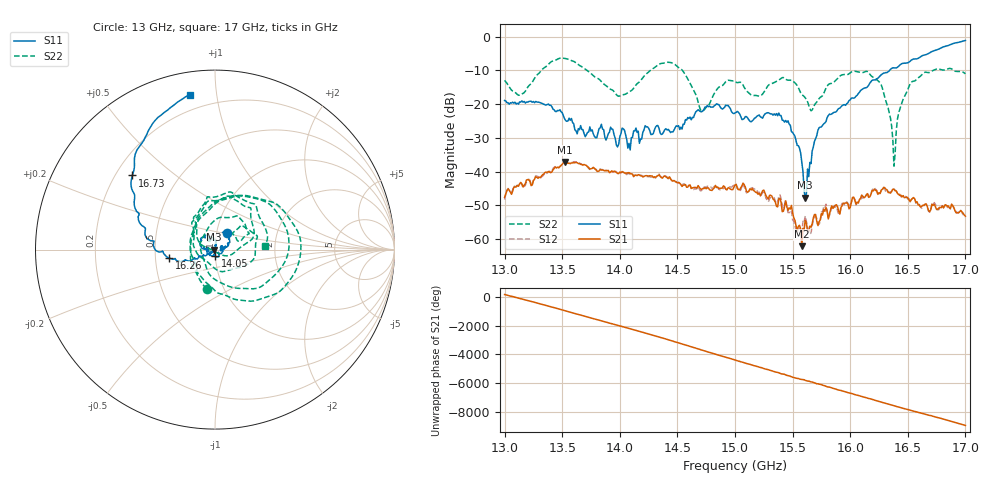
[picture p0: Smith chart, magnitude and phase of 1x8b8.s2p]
!Keysight Technologies,P9374A,MY57211807,A.19.30.04
!Date: Friday, May 08, 2026 14:24:35
!Correction: S11(C  2-Port  )
!S21(C  2-Port  )
!S12(C  2-Port  )
!S22(C  2-Port  )
!S2P File: Measurements: S11, S21, S12, S22:
# Hz S  dB  R 50
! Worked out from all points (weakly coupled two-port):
!   401 points, 13 GHz to 17 GHz, reference 50 ohm
!   highest |S21| = -37.17 dB at 13.52 GHz (marker M1); lowest = -62.1 dB at 15.58 GHz (marker M2)
!   lowest |S11| = -47.7 dB at 15.61 GHz (marker M3), VSWR 1.01, Z = 49.6 - j0.00406 ohm
!   |S11| at or under -10 dB: start of sweep to 16.34 GHz
!   |S22| runs from -38.4 to -6.4 dB; largest |S21 - S12| = 0.00078
!   S11 on the Smith chart (normalised r, x): 13 GHz: 1.12, +0.21; 14.05 GHz: 1.00, -0.07; 16.26 GHz: 0.59, -0.06; 16.73 GHz: 0.27, +0.36; 17 GHz: 0.11, +0.84
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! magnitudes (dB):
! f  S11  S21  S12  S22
! 13 GHz  -19.0  -47.6  -48.3  -13.0
! 13.14 GHz  -19.4  -43.2  -43.3  -17.2
! 13.52 GHz  -24.3  -37.2  -37.3  -6.5
! 13.67 GHz  -27.5  -37.9  -37.8  -8.9
! 14.05 GHz  -29.1  -40.4  -40.7  -17.1
! 14.34 GHz  -27.1  -41.0  -40.7  -8.2
! 14.54 GHz  -27.4  -44.4  -44.0  -9.9
! 14.72 GHz  -22.0  -45.0  -45.0  -22.1
! 15 GHz  -22.7  -44.0  -43.9  -13.3
! 15.2 GHz  -23.4  -46.7  -46.3  -17.6
! 15.38 GHz  -22.7  -48.2  -47.4  -12.9
! 15.48 GHz  -26.3  -51.1  -52.5  -12.9
! 15.58 GHz  -37.2  -62.1  -59.2  -17.1
! 15.61 GHz  -47.7  -54.4  -53.1  -18.2
! 15.67 GHz  -33.9  -55.5  -56.0  -21.8
! 15.93 GHz  -20.5  -50.0  -49.4  -11.3
! 16.26 GHz  -11.7  -46.4  -46.5  -13.7
! 16.34 GHz  -10.1  -46.2  -46.2  -22.7
! 16.38 GHz  -9.3  -45.2  -45.1  -38.4
! 16.52 GHz  -7.3  -48.9  -48.9  -14.0
! 16.73 GHz  -4.2  -49.7  -49.2  -9.9
! 17 GHz  -1.2  -53.2  -53.4  -11.0
